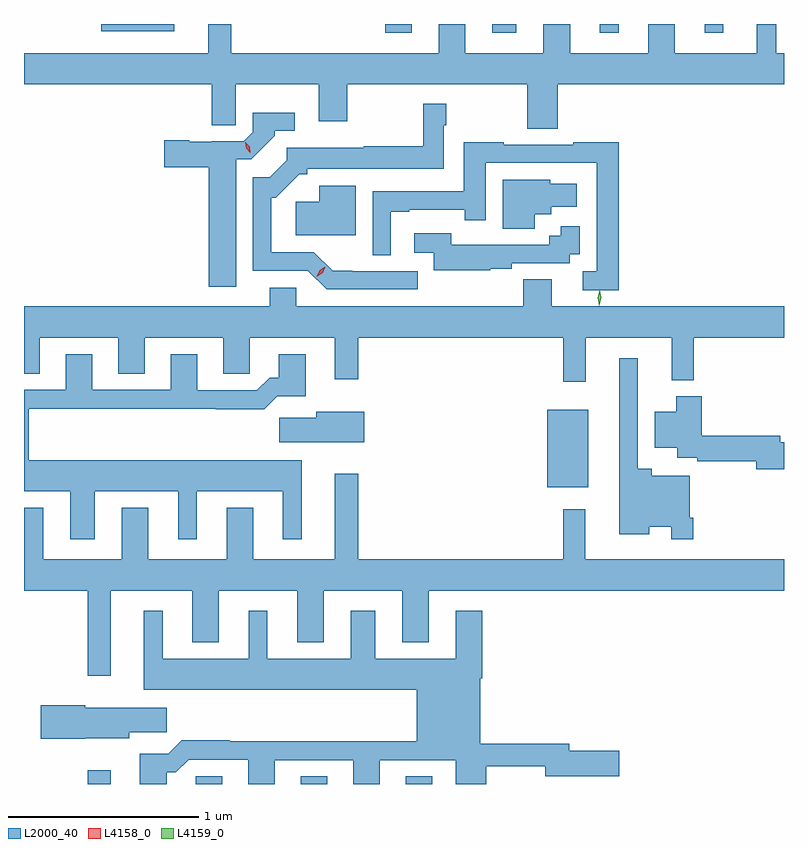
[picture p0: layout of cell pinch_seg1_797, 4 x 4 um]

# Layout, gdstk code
import gdstk
lib = gdstk.Library(unit=1e-6, precision=1e-09)
def R(c, l, rs):  # rectangles x0, y0, x1, y1
    for r in rs: c.add(gdstk.rectangle(r[:2], r[2:], *l))
def P(c, l, *ps):  # polygons
    for p in ps: c.add(gdstk.Polygon(p, *l))
L2000_40 = (2000, 40)
L4158_0 = (4158, 0)
L4159_0 = (4159, 0)

pinch_seg1_797 = lib.new_cell('pinch_seg1_797')
R(pinch_seg1_797, L2000_40, [(400.92,569.362,401.041,569.434), (401.49,569.362,401.629,569.402), (402.041,569.362,402.181,569.402), (402.593,569.362,402.733,569.402), (403.34,570.923,403.555,571.333), (402.485,573.315,402.625,573.362), (403.049,573.315,403.177,573.362), (403.616,573.315,403.714,573.362), (404.168,573.315,404.266,573.362), (400.992,573.323,401.377,573.362)])
P(pinch_seg1_797, L2000_40, [(404.585,573.208),(404.545,573.208),(404.545,573.362),(404.441,573.362),(404.441,573.208),(404.011,573.208),(404.011,573.362),(403.871,573.362),(403.871,573.208),(403.459,573.208),(403.459,573.362),(403.319,573.362),(403.319,573.208),(402.907,573.208),(402.907,573.362),(402.767,573.362),(402.767,573.208),(401.677,573.208),(401.677,573.362),(401.555,573.362),(401.555,573.208),(400.585,573.208),(400.585,573.044),(401.573,573.044),(401.573,572.83),(401.7,572.83),(401.7,573.044),(402.137,573.044),(402.137,572.85),(402.285,572.85),(402.285,573.044),(403.234,573.044),(403.234,572.812),(403.394,572.812),(403.394,573.044),(404.585,573.044)],
  [(402.657,572.061),(402.313,572.061),(402.313,572.063),(402.209,572.063),(402.111,572.16),(401.886,572.16),(401.886,572.448),(401.909,572.448),(402.033,572.571),(402.076,572.571),(402.076,572.6),(402.795,572.6),(402.795,572.828),(402.808,572.828),(402.808,572.941),(402.687,572.941),(402.687,572.718),(402.373,572.718),(402.373,572.71),(401.969,572.71),(401.969,572.646),(401.879,572.556),(401.79,572.556),(401.79,572.064),(402.079,572.064),(402.178,571.965),(402.657,571.965)],
  [(401.701,572.649),(401.782,572.649),(401.906,572.773),(401.906,572.799),(402.01,572.799),(402.01,572.896),(401.79,572.896),(401.79,572.793),(401.742,572.745),(401.574,572.745),(401.574,572.743),(401.454,572.743),(401.454,572.751),(401.322,572.751),(401.322,572.609),(401.558,572.609),(401.558,571.98),(401.701,571.98)],
  [(403.715,572.74),(403.477,572.74),(403.477,572.727),(403.111,572.727),(403.111,572.74),(402.899,572.74),(402.899,572.481),(402.42,572.481),(402.42,572.146),(402.516,572.146),(402.516,572.373),(402.613,572.373),(402.613,572.385),(402.906,572.385),(402.906,572.328),(403.015,572.328),(403.015,572.631),(403.599,572.631),(403.599,572.061),(403.527,572.061),(403.527,571.961),(403.715,571.961)],
  [(403.273,572.361),(403.36,572.361),(403.36,572.399),(403.495,572.399),(403.495,572.521),(403.356,572.521),(403.356,572.542),(403.106,572.542),(403.106,572.284),(403.273,572.284)],
  [(402.331,572.512),(402.14,572.512),(402.14,572.427),(402.015,572.427),(402.015,572.249),(402.331,572.249)],
  [(403.038,572.073),(403.152,572.073),(403.152,572.103),(403.458,572.103),(403.458,572.151),(403.51,572.151),(403.51,572.297),(403.409,572.297),(403.409,572.247),(403.35,572.247),(403.35,572.199),(403.038,572.199),(403.038,572.2),(402.834,572.2),(402.834,572.26),(402.639,572.26),(402.639,572.159),(402.741,572.159),(402.741,572.066),(403.038,572.066)],
  [(402.221,571.491),(402.343,571.491),(402.343,571.712),(403.423,571.712),(403.423,571.479),(403.541,571.479),(403.541,571.712),(403.994,571.712),(403.994,571.487),(404.111,571.487),(404.111,571.712),(404.585,571.712),(404.585,571.876),(403.363,571.876),(403.363,572.018),(403.212,572.018),(403.212,571.876),(402.018,571.876),(402.018,571.974),(401.879,571.974),(401.879,571.876),(400.585,571.876),(400.585,571.522),(400.669,571.522),(400.669,571.712),(401.081,571.712),(401.081,571.522),(401.221,571.522),(401.221,571.712),(401.633,571.712),(401.633,571.522),(401.772,571.522),(401.772,571.712),(402.221,571.712)],
  [(400.957,570.902),(401.396,570.902),(401.396,570.651),(401.494,570.651),(401.494,570.902),(401.948,570.902),(401.948,570.651),(402.046,570.651),(402.046,571.066),(400.609,571.066),(400.609,571.336),(401.593,571.336),(401.593,571.334),(401.849,571.334),(401.918,571.403),(402.067,571.403),(402.067,571.624),(401.927,571.624),(401.927,571.501),(401.878,571.501),(401.811,571.434),(401.497,571.434),(401.497,571.624),(401.357,571.624),(401.357,571.437),(400.945,571.437),(400.945,571.624),(400.805,571.624),(400.805,571.437),(400.585,571.437),(400.585,570.902),(400.829,570.902),(400.829,570.651),(400.957,570.651)],
  [(404.108,570.763),(404.088,570.763),(404.088,570.985),(403.889,570.985),(403.889,571.021),(403.815,571.021),(403.815,571.603),(403.718,571.603),(403.718,570.677),(403.876,570.677),(403.876,570.716),(403.992,570.716),(403.992,570.651),(404.108,570.651)],
  [(404.585,571.16),(404.566,571.16),(404.566,571.196),(404.153,571.196),(404.153,571.402),(404.018,571.402),(404.018,571.321),(403.904,571.321),(403.904,571.133),(404.024,571.133),(404.024,571.08),(404.128,571.08),(404.128,571.06),(404.438,571.06),(404.438,571.018),(404.585,571.018)],
  [(402.376,571.321),(402.122,571.321),(402.122,571.289),(401.928,571.289),(401.928,571.16),(402.376,571.16)],
  [(401.041,570.38),(401.471,570.38),(401.471,570.107),(401.611,570.107),(401.611,570.38),(402.023,570.38),(402.023,570.107),(402.163,570.107),(402.163,570.38),(402.575,570.38),(402.575,570.107),(402.715,570.107),(402.715,570.38),(404.585,570.38),(404.585,570.544),(403.54,570.544),(403.54,570.808),(403.423,570.808),(403.423,570.544),(402.343,570.544),(402.343,570.994),(402.221,570.994),(402.221,570.544),(401.791,570.544),(401.791,570.817),(401.651,570.817),(401.651,570.544),(401.239,570.544),(401.239,570.817),(401.099,570.817),(401.099,570.544),(400.687,570.544),(400.687,570.817),(400.585,570.817),(400.585,570.38),(400.92,570.38),(400.92,569.931),(401.041,569.931)],
  [(401.335,569.423),(401.384,569.423),(401.451,569.49),(401.765,569.49),(401.765,569.362),(401.905,569.362),(401.905,569.487),(402.317,569.487),(402.317,569.362),(402.457,569.362),(402.457,569.487),(402.857,569.487),(402.857,569.362),(403.017,569.362),(403.017,569.455),(403.328,569.455),(403.328,569.402),(403.717,569.402),(403.717,569.537),(403.456,569.537),(403.456,569.573),(402.985,569.573),(402.985,569.918),(402.998,569.918),(402.998,570.274),(402.857,570.274),(402.857,570.022),(402.433,570.022),(402.433,570.274),(402.305,570.274),(402.305,570.022),(401.866,570.022),(401.866,570.274),(401.768,570.274),(401.768,570.022),(401.314,570.022),(401.314,570.274),(401.216,570.274),(401.216,569.858),(402.653,569.858),(402.653,569.588),(401.669,569.588),(401.669,569.591),(401.414,569.591),(401.344,569.521),(401.195,569.521),(401.195,569.362),(401.335,569.362)],
  [(400.908,569.603),(401.14,569.603),(401.14,569.635),(401.335,569.635),(401.335,569.764),(400.908,569.764),(400.908,569.777),(400.674,569.777),(400.674,569.599),(400.908,569.599)])
P(pinch_seg1_797, L4158_0, [(401.776,572.685),(401.776,572.685),(401.754,572.708),(401.75,572.739),(401.75,572.739),(401.75,572.739),(401.772,572.717),(401.776,572.685)],
  [(402.127,572.032),(402.127,572.033),(402.142,572.065),(402.171,572.084),(402.171,572.084),(402.171,572.084),(402.157,572.052),(402.127,572.032)])
P(pinch_seg1_797, L4159_0, [(403.612,571.879),(403.604,571.92),(403.614,571.961),(403.614,571.961),(403.615,571.961),(403.624,571.92),(403.613,571.879),(403.613,571.879)])

lib.write_gds('pinch_seg1_797.gds')
